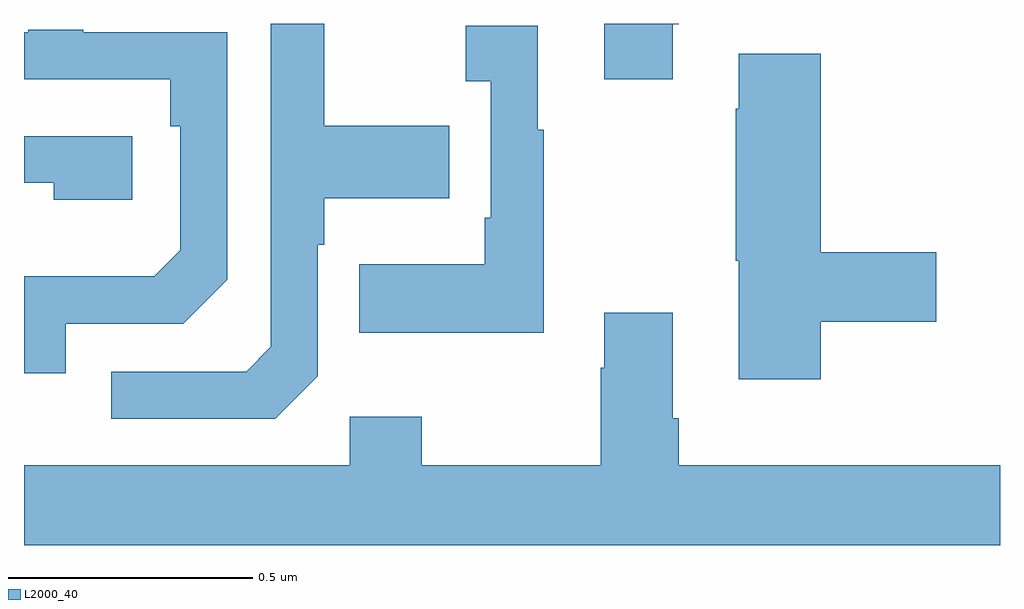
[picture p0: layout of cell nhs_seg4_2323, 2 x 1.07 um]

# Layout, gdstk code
import gdstk
lib = gdstk.Library(unit=1e-6, precision=1e-09)
def P(c, l, *ps):  # polygons
    for p in ps: c.add(gdstk.Polygon(p, *l))
L2000_40 = (2000, 40)

nhs_seg4_2323 = lib.new_cell('nhs_seg4_2323')
P(nhs_seg4_2323, L2000_40, [(140.329,785.899),(140.342,785.899),(140.342,785.9),(140.189,785.9),(140.189,785.787),(140.329,785.787)],
  [(139.602,785.178),(139.602,785.447),(139.615,785.447),(139.615,785.543),(139.871,785.543),(139.871,785.691),(139.615,785.691),(139.615,785.9),(139.506,785.9),(139.506,785.238),(139.455,785.187),(139.179,785.187),(139.179,785.091),(139.515,785.091)],
  [(140.065,785.683),(140.053,785.683),(140.053,785.896),(139.905,785.896),(139.905,785.783),(139.956,785.783),(139.956,785.503),(139.944,785.503),(139.944,785.407),(139.687,785.407),(139.687,785.267),(140.065,785.267)],
  [(139.086,785.286),(139.326,785.286),(139.416,785.376),(139.416,785.883),(139.121,785.883),(139.121,785.888),(139.009,785.888),(139.009,785.883),(139,785.883),(139,785.787),(139.3,785.787),(139.3,785.69),(139.32,785.69),(139.32,785.436),(139.267,785.383),(139,785.383),(139,785.184),(139.086,785.184)],
  [(140.633,785.29),(140.869,785.29),(140.869,785.432),(140.633,785.432),(140.633,785.839),(140.465,785.839),(140.465,785.726),(140.458,785.726),(140.458,785.415),(140.465,785.415),(140.465,785.172),(140.633,785.172)],
  [(139.222,785.67),(139,785.67),(139,785.574),(139.061,785.574),(139.061,785.54),(139.222,785.54)],
  [(141,784.996),(140.342,784.996),(140.342,785.092),(140.329,785.092),(140.329,785.308),(140.189,785.308),(140.189,785.195),(140.182,785.195),(140.182,784.996),(139.815,784.996),(139.815,785.095),(139.668,785.095),(139.668,784.996),(139,784.996),(139,784.832),(141,784.832)])

lib.write_gds('nhs_seg4_2323.gds')
